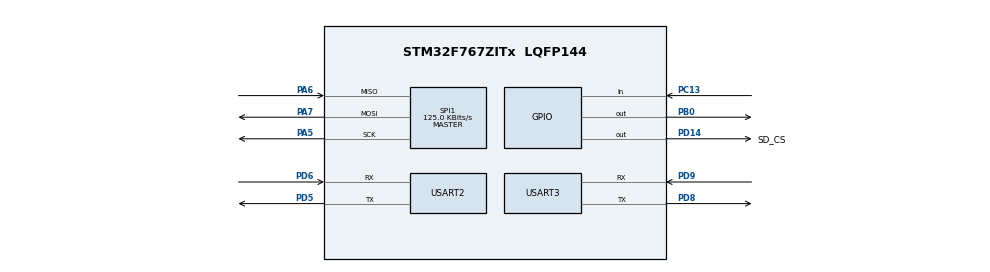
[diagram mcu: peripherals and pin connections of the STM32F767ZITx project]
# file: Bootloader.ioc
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FATFS._USE_LFN=1
Mcu.Family=STM32F7
Mcu.Name=STM32F767ZITx
Mcu.Package=LQFP144
NVIC.PriorityGroup=NVIC_PRIORITYGROUP_4
PA5.Mode=Full_Duplex_Master
PA5.Signal=SPI1_SCK
PA6.Mode=Full_Duplex_Master
PA6.Signal=SPI1_MISO
PA7.Mode=Full_Duplex_Master
PA7.Signal=SPI1_MOSI
PB0.Signal=GPIO_Output
PC13.Signal=GPIO_Input
PD14.GPIO_Label=SD_CS
PD14.Signal=GPIO_Output
PD5.Mode=Asynchronous
PD5.Signal=USART2_TX
PD6.Mode=Asynchronous
PD6.Signal=USART2_RX
PD8.Mode=Asynchronous
PD8.Signal=USART3_TX
PD9.Mode=Asynchronous
PD9.Signal=USART3_RX
ProjectManager.HeapSize=0x200
ProjectManager.StackSize=0x400
ProjectManager.TargetToolchain=STM32CubeIDE
RCC.HSE_VALUE=25000000
RCC.HSI_VALUE=16000000
RCC.LSE_VALUE=32768
RCC.USBFreq_Value=96000000
RCC.VCOOutputFreq_Value=192000000
SPI1.BaudRatePrescaler=SPI_BAUDRATEPRESCALER_128
SPI1.CalculateBaudRate=125.0 KBits/s
SPI1.DataSize=SPI_DATASIZE_8BIT
SPI1.Direction=SPI_DIRECTION_2LINES
SPI1.Mode=SPI_MODE_MASTER
SPI1.VirtualType=VM_MASTER
USART2.VirtualMode-Asynchronous=VM_ASYNC
USART3.VirtualMode-Asynchronous=VM_ASYNC
VP_CRC_VS_CRC.Mode=CRC_Activate
VP_FATFS_VS_Generic.Mode=User_defined
board=custom

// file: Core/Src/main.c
/* USER CODE BEGIN Header */
/**
  ******************************************************************************
  * @file           : main.c
  * @brief          : Main program body
  ******************************************************************************
  * @attention
  *
  * <h2><center>&copy; Copyright (c) 2021 STMicroelectronics.
  * All rights reserved.</center></h2>
  *
  * This software component is licensed by ST under BSD 3-Clause license,
  * the "License"; You may not use this file except in compliance with the
  * License. You may obtain a copy of the License at:
  *                        opensource.org/licenses/BSD-3-Clause
  *
  ******************************************************************************
  */
/* USER CODE END Header */
#include "main.h"
#include "fatfs.h"

/* USER CODE BEGIN Includes */
#include <stdio.h>
#include <string.h>
#include "etx_ota_update.h"
/* USER CODE END Includes */

/* USER CODE BEGIN PM */
#define MAJOR 0   // BL Major version Number
#define MINOR 4   // BL Minor version Number
/* USER CODE END PM */

CRC_HandleTypeDef hcrc;

SPI_HandleTypeDef hspi1;

UART_HandleTypeDef huart2;
UART_HandleTypeDef huart3;

/* USER CODE BEGIN PV */
const uint8_t BL_Version[2] = { MAJOR, MINOR };
/* USER CODE END PV */

void SystemClock_Config(void);
static void MX_GPIO_Init(void);
static void MX_USART3_UART_Init(void);
static void MX_USART2_UART_Init(void);
static void MX_CRC_Init(void);
static void MX_SPI1_Init(void);
/* USER CODE BEGIN PFP */
static void goto_application( void );
/* USER CODE END PFP */

int main(void)
{

  /* MCU Configuration--------------------------------------------------------*/

  /* Reset of all peripherals, Initializes the Flash interface and the Systick. */
  HAL_Init();

  /* Configure the system clock */
  SystemClock_Config();

  /* Initialize all configured peripherals */
  MX_GPIO_Init();
  MX_USART3_UART_Init();
  MX_USART2_UART_Init();
  MX_CRC_Init();
  MX_SPI1_Init();
  MX_FATFS_Init();
  /* USER CODE BEGIN 2 */

  // Turn ON the Green Led to tell the user that Bootloader is running
  HAL_GPIO_WritePin(GPIOB, GPIO_PIN_0, GPIO_PIN_SET );    //Green LED ON
  printf("Starting Bootloader(%d.%d)\r\n", BL_Version[0], BL_Version[1] );

  ETX_SD_EX_ sd_ex = check_update_frimware_SD_card();

  //Check for firmware in SD Card
  if( sd_ex == ETX_SD_EX_FU_ERR )
  {
    /* Fw update error. Don't process. */
    printf("SD Card Fw Update : ERROR!!! HALT!!!\r\n");
    while( 1 );
  }
  else if( sd_ex == ETX_SD_EX_OK )
  {
    /*
     * We have updated the firmware through SD card. Skip other firmware
     * update mechanism.
     */
  }
  else
  {
    //check for other firmware update mechanisms

    //Read the reboot cause and act accordingly
    printf("Reading the reboot reason...\r\n");

    ETX_GNRL_CFG_ *cfg          = (ETX_GNRL_CFG_*) (ETX_CONFIG_FLASH_ADDR);
    bool          goto_ota_mode = false;

    switch( cfg->reboot_cause )
    {
    case ETX_NORMAL_BOOT:
      {
        /*
         * It is a normal boot. So, do nothing here.
         */
        printf("Normal Boot\r\n");
        break;
      }
    case ETX_OTA_REQUEST:
    case ETX_FIRST_TIME_BOOT:
      {
        /*
         * Application has requested for the OTA update or this is the first
         * time boot. So, don't wait for the user to press the button.
         * Directly go to OTA mode.
         */
        printf("First time boot / OTA Request...\r\n");
        printf("Going to OTA mode...\r\n");
        goto_ota_mode = true;
        break;
      }
    case ETX_LOAD_PREV_APP:
      {
        //TODO: Implement
        break;
      }
    default:
      /* should not get here */
      break;
    };

    /* Check the GPIO for 3 seconds */
    GPIO_PinState OTA_Pin_state;
    uint32_t end_tick = HAL_GetTick() + 3000;   // from now to 3 Seconds

    printf("Press the User Button PC13 to trigger OTA update...\r\n");
    do
    {
      OTA_Pin_state = HAL_GPIO_ReadPin( GPIOC, GPIO_PIN_13 );
      uint32_t current_tick = HAL_GetTick();

      /* Check the button is pressed or not for 3seconds */
      if( ( OTA_Pin_state != GPIO_PIN_RESET ) || ( current_tick > end_tick ) )
      {
        /* Either timeout or Button is pressed */
        break;
      }
    }while( !goto_ota_mode );

    /*Start the Firmware or Application update */
    if( ( OTA_Pin_state == GPIO_PIN_SET ) || ( goto_ota_mode ) )
    {
      printf("Starting Firmware Download!!!\r\n");
      /* OTA Request. Receive the data from the UART4 and flash */
      if( etx_ota_download_and_flash() != ETX_OTA_EX_OK )
      {
        /* Error. Don't process. */
        printf("OTA Update : ERROR!!! HALT!!!\r\n");
        while( 1 );
      }
      else
      {
        /* Reset to load the new application */
        printf("Firmware update is done!!! Rebooting...\r\n");
        HAL_NVIC_SystemReset();
      }
    }
  }

  //Load the updated app, if it is available
  load_new_app();

  // Jump to application
  goto_application();
  /* USER CODE END 2 */

  /* Infinite loop */
  while (1)
  {

  }
}

void SystemClock_Config(void)
{
  RCC_OscInitTypeDef RCC_OscInitStruct = {0};
  RCC_ClkInitTypeDef RCC_ClkInitStruct = {0};
  RCC_PeriphCLKInitTypeDef PeriphClkInitStruct = {0};

  /** Configure the main internal regulator output voltage
  */
  __HAL_RCC_PWR_CLK_ENABLE();
  __HAL_PWR_VOLTAGESCALING_CONFIG(PWR_REGULATOR_VOLTAGE_SCALE3);
  /** Initializes the RCC Oscillators according to the specified parameters
  * in the RCC_OscInitTypeDef structure.
  */
  RCC_OscInitStruct.OscillatorType = RCC_OSCILLATORTYPE_HSI;
  RCC_OscInitStruct.HSIState = RCC_HSI_ON;
  RCC_OscInitStruct.HSICalibrationValue = RCC_HSICALIBRATION_DEFAULT;
  RCC_OscInitStruct.PLL.PLLState = RCC_PLL_NONE;
  if (HAL_RCC_OscConfig(&RCC_OscInitStruct) != HAL_OK)
  {
    Error_Handler();
  }
  /** Initializes the CPU, AHB and APB buses clocks
  */
  RCC_ClkInitStruct.ClockType = RCC_CLOCKTYPE_HCLK|RCC_CLOCKTYPE_SYSCLK
                              |RCC_CLOCKTYPE_PCLK1|RCC_CLOCKTYPE_PCLK2;
  RCC_ClkInitStruct.SYSCLKSource = RCC_SYSCLKSOURCE_HSI;
  RCC_ClkInitStruct.AHBCLKDivider = RCC_SYSCLK_DIV1;
  RCC_ClkInitStruct.APB1CLKDivider = RCC_HCLK_DIV1;
  RCC_ClkInitStruct.APB2CLKDivider = RCC_HCLK_DIV1;

  if (HAL_RCC_ClockConfig(&RCC_ClkInitStruct, FLASH_LATENCY_0) != HAL_OK)
  {
    Error_Handler();
  }
  PeriphClkInitStruct.PeriphClockSelection = RCC_PERIPHCLK_USART2|RCC_PERIPHCLK_USART3;
  PeriphClkInitStruct.Usart2ClockSelection = RCC_USART2CLKSOURCE_PCLK1;
  PeriphClkInitStruct.Usart3ClockSelection = RCC_USART3CLKSOURCE_PCLK1;
  if (HAL_RCCEx_PeriphCLKConfig(&PeriphClkInitStruct) != HAL_OK)
  {
    Error_Handler();
  }
}

static void MX_CRC_Init(void)
{

  hcrc.Instance = CRC;
  hcrc.Init.DefaultPolynomialUse = DEFAULT_POLYNOMIAL_ENABLE;
  hcrc.Init.DefaultInitValueUse = DEFAULT_INIT_VALUE_ENABLE;
  hcrc.Init.InputDataInversionMode = CRC_INPUTDATA_INVERSION_NONE;
  hcrc.Init.OutputDataInversionMode = CRC_OUTPUTDATA_INVERSION_DISABLE;
  hcrc.InputDataFormat = CRC_INPUTDATA_FORMAT_BYTES;
  if (HAL_CRC_Init(&hcrc) != HAL_OK)
  {
    Error_Handler();
  }

}

static void MX_SPI1_Init(void)
{

  /* SPI1 parameter configuration*/
  hspi1.Instance = SPI1;
  hspi1.Init.Mode = SPI_MODE_MASTER;
  hspi1.Init.Direction = SPI_DIRECTION_2LINES;
  hspi1.Init.DataSize = SPI_DATASIZE_8BIT;
  hspi1.Init.CLKPolarity = SPI_POLARITY_LOW;
  hspi1.Init.CLKPhase = SPI_PHASE_1EDGE;
  hspi1.Init.NSS = SPI_NSS_SOFT;
  hspi1.Init.BaudRatePrescaler = SPI_BAUDRATEPRESCALER_128;
  hspi1.Init.FirstBit = SPI_FIRSTBIT_MSB;
  hspi1.Init.TIMode = SPI_TIMODE_DISABLE;
  hspi1.Init.CRCCalculation = SPI_CRCCALCULATION_DISABLE;
  hspi1.Init.CRCPolynomial = 7;
  hspi1.Init.CRCLength = SPI_CRC_LENGTH_DATASIZE;
  hspi1.Init.NSSPMode = SPI_NSS_PULSE_ENABLE;
  if (HAL_SPI_Init(&hspi1) != HAL_OK)
  {
    Error_Handler();
  }

}

static void MX_USART2_UART_Init(void)
{

  huart2.Instance = USART2;
  huart2.Init.BaudRate = 115200;
  huart2.Init.WordLength = UART_WORDLENGTH_8B;
  huart2.Init.StopBits = UART_STOPBITS_1;
  huart2.Init.Parity = UART_PARITY_NONE;
  huart2.Init.Mode = UART_MODE_TX_RX;
  huart2.Init.HwFlowCtl = UART_HWCONTROL_NONE;
  huart2.Init.OverSampling = UART_OVERSAMPLING_16;
  huart2.Init.OneBitSampling = UART_ONE_BIT_SAMPLE_DISABLE;
  huart2.AdvancedInit.AdvFeatureInit = UART_ADVFEATURE_NO_INIT;
  if (HAL_UART_Init(&huart2) != HAL_OK)
  {
    Error_Handler();
  }

}

static void MX_USART3_UART_Init(void)
{

  huart3.Instance = USART3;
  huart3.Init.BaudRate = 115200;
  huart3.Init.WordLength = UART_WORDLENGTH_8B;
  huart3.Init.StopBits = UART_STOPBITS_1;
  huart3.Init.Parity = UART_PARITY_NONE;
  huart3.Init.Mode = UART_MODE_TX_RX;
  huart3.Init.HwFlowCtl = UART_HWCONTROL_NONE;
  huart3.Init.OverSampling = UART_OVERSAMPLING_16;
  huart3.Init.OneBitSampling = UART_ONE_BIT_SAMPLE_DISABLE;
  huart3.AdvancedInit.AdvFeatureInit = UART_ADVFEATURE_NO_INIT;
  if (HAL_UART_Init(&huart3) != HAL_OK)
  {
    Error_Handler();
  }

}

static void MX_GPIO_Init(void)
{
  GPIO_InitTypeDef GPIO_InitStruct = {0};

  /* GPIO Ports Clock Enable */
  __HAL_RCC_GPIOC_CLK_ENABLE();
  __HAL_RCC_GPIOA_CLK_ENABLE();
  __HAL_RCC_GPIOB_CLK_ENABLE();
  __HAL_RCC_GPIOD_CLK_ENABLE();

  /*Configure GPIO pin Output Level */
  HAL_GPIO_WritePin(GPIOB, GPIO_PIN_0, GPIO_PIN_RESET);

  /*Configure GPIO pin Output Level */
  HAL_GPIO_WritePin(SD_CS_GPIO_Port, SD_CS_Pin, GPIO_PIN_RESET);

  /*Configure GPIO pin : PC13 */
  GPIO_InitStruct.Pin = GPIO_PIN_13;
  GPIO_InitStruct.Mode = GPIO_MODE_INPUT;
  GPIO_InitStruct.Pull = GPIO_NOPULL;
  HAL_GPIO_Init(GPIOC, &GPIO_InitStruct);

  /*Configure GPIO pin : PB0 */
  GPIO_InitStruct.Pin = GPIO_PIN_0;
  GPIO_InitStruct.Mode = GPIO_MODE_OUTPUT_PP;
  GPIO_InitStruct.Pull = GPIO_NOPULL;
  GPIO_InitStruct.Speed = GPIO_SPEED_FREQ_LOW;
  HAL_GPIO_Init(GPIOB, &GPIO_InitStruct);

  /*Configure GPIO pin : SD_CS_Pin */
  GPIO_InitStruct.Pin = SD_CS_Pin;
  GPIO_InitStruct.Mode = GPIO_MODE_OUTPUT_PP;
  GPIO_InitStruct.Pull = GPIO_NOPULL;
  GPIO_InitStruct.Speed = GPIO_SPEED_FREQ_LOW;
  HAL_GPIO_Init(SD_CS_GPIO_Port, &GPIO_InitStruct);

}

/* USER CODE BEGIN 4 */
/**
  * @brief Print the characters to UART (printf).
  * @retval int
  */
#ifdef __GNUC__
  /* With GCC, small printf (option LD Linker->Libraries->Small printf
     set to 'Yes') calls __io_putchar() */
int __io_putchar(int ch)
#else
int fputc(int ch, FILE *f)
#endif /* __GNUC__ */
{
  /* Place your implementation of fputc here */
  /* e.g. write a character to the UART3 and Loop until the end of transmission */
  HAL_UART_Transmit(&huart3, (uint8_t *)&ch, 1, HAL_MAX_DELAY);

  return ch;
}

/**
  * @brief Jump to application from the Bootloader
  * @retval None
  */
static void goto_application(void)
{
  printf("Gonna Jump to Application\r\n");

  void (*app_reset_handler)(void) = (void*)(*((volatile uint32_t*) (ETX_APP_FLASH_ADDR + 4U)));

  // Turn OFF the Green Led to tell the user that Bootloader is not running
  HAL_GPIO_WritePin(GPIOB, GPIO_PIN_0, GPIO_PIN_RESET );    //Green LED OFF

 /* Reset the Clock */
  HAL_RCC_DeInit();
  HAL_DeInit();
  __set_MSP(*(volatile uint32_t*) ETX_APP_FLASH_ADDR);
  SysTick->CTRL = 0;
  SysTick->LOAD = 0;
  SysTick->VAL = 0;

  /* Jump to application */
  app_reset_handler();    //call the app reset handler
}
/* USER CODE END 4 */

void Error_Handler(void)
{
  __disable_irq();
  while (1)
  {
  }
}

/************************ (C) COPYRIGHT STMicroelectronics *****END OF FILE****/
